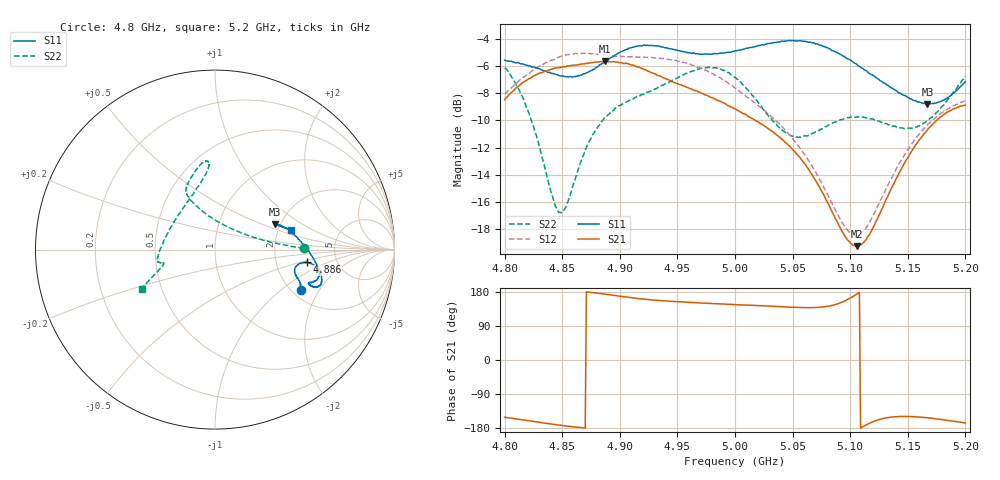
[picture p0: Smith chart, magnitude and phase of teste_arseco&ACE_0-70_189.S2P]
! Network Analyzer HP8722D
! Hewlett-Packard
! Data name: Linha & Wilkinson
! Saver's name: Rodrigo Anjos
! Comments: Teste da utilização de aquisição
! continua pelo VNA HP8722D
! Time and date: 8/5/2025 14:20
!  Frequency  S11  S21  S12  S22
# HZ  S  MA R 50
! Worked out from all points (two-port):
!   401 points, 4.8 GHz to 5.2 GHz, reference 50 ohm
!   highest |S21| = -5.65 dB at 4.887 GHz (marker M1); lowest = -19.2 dB at 5.106 GHz (marker M2)
!   |S21| within 3 dB of the highest: start of sweep to 4.988 GHz
!   lowest |S11| = -8.8 dB at 5.167 GHz (marker M3), VSWR 2.14, Z = 93.8 + j30.6 ohm
!   |S11| at or under -10 dB: nowhere
!   |S22| runs from -16.8 to -6.1 dB; largest |S21 - S12| = 1.1
!   S11 on the Smith chart (normalised r, x): 4.8 GHz: 2.23, -1.38; 4.886 GHz: 3.00, -0.58; 5.2 GHz: 2.36, +0.65
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4.8e9  0.5263 -25.1  0.3768 -151.3  0.3956 8.0  0.4945 0.8
4.82e9  0.5038 -20.7  0.4469 -159.8  0.468 5.1  0.346 5.8
4.846e9  0.4656 -16.5  0.4942 -171.2  0.539 0.9  0.1473 52.7
4.853e9  0.4573 -14.9  0.4974 -173.7  0.5503 -0.1  0.1513 79.8
4.867e9  0.4643 -10.9  0.5112 -178.8  0.5562 -2.3  0.2282 108.5
4.886e9  0.5153 -7.9  0.5209 174.4  0.5515 -3.6  0.3198 116.7
4.887e9  0.5191 -8.2  0.522 174.0  0.5499 -3.3  0.3245 116.6
4.91e9  0.5856 -11.0  0.5065 164.5  0.5428 -2.9  0.3771 114.9
4.934e9  0.5934 -16.5  0.4623 157.0  0.5367 -3.5  0.4203 108.8
4.973e9  0.5548 -19.6  0.3953 150.0  0.4869 -6.9  0.4952 96.7
5e9  0.5703 -20.6  0.3488 146.1  0.4165 -6.9  0.4558 94.8
5.041e9  0.6178 -18.8  0.2695 140.6  0.2995 0.7  0.2913 128.2
5.054e9  0.6189 -16.8  0.2367 138.8  0.2583 3.9  0.2752 147.3
5.067e9  0.6117 -14.0  0.1995 138.2  0.2148 8.7  0.2828 164.9
5.095e9  0.5439 -4.0  0.1194 155.4  0.1295 35.4  0.3214 -172.6
5.106e9  0.5067 1.0  0.1091 174.3  0.1199 56.8  0.327 -169.0
5.116e9  0.4736 6.5  0.1194 -168.2  0.1322 75.9  0.3223 -167.2
5.134e9  0.4214 15.3  0.1717 -151.3  0.1874 94.3  0.305 -166.3
5.152e9  0.3799 21.3  0.2388 -149.1  0.2538 99.5  0.2965 -164.7
5.167e9  0.3636 22.9  0.2916 -152.5  0.3046 100.1  0.3162 -161.5
5.183e9  0.3795 20.5  0.3362 -158.7  0.3452 100.0  0.3693 -157.4
5.2e9  0.4394 14.6  0.3598 -166.1  0.3742 100.6  0.4598 -151.6
